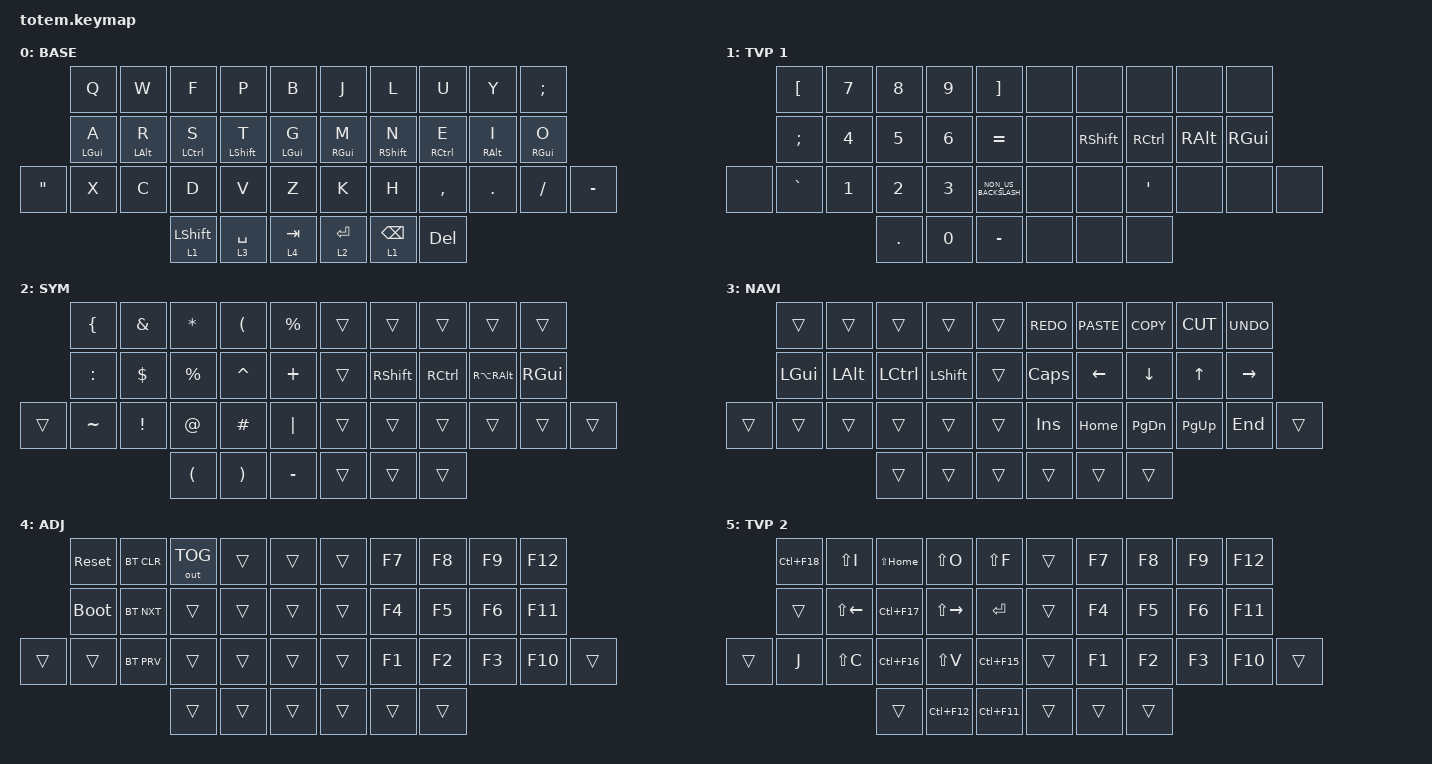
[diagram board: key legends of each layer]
//
//                                                        ▀▀▀▀▀     ▀▀▀▀▀          ▀▀█▀▀
//                                                        ▄▀▀▀▄  ▄  ▄▀▀▀▄  ▄  ▄▀▀▀▄  █  ▄▀▀▀▄
//                                                        █   █  █  █   █  █  █   █  █  █   █
//                                                         ▀▀▀   █   ▀▀▀   █   ▀▀▀   ▀   ▀▀▀
//                                                               █      ▄▄▄█▄▄▄    █   █  
//                                                               ▀      █  █  █     █▄█
//                                                             ▀▀▀▀▀    █  █  █      ▀
//                                                                      ▀  ▀  ▀
//
// ▄▄▄▄▄▄▄▄▄▄▄▄▄▄▄▄▄▄▄▄▄▄▄▄▄▄▄▄▄▄▄▄▄▄▄▄▄▄▄▄▄▄▄▄▄▄▄▄▄▄▄▄▄▄▄▄▄▄▄▄▄▄▄▄▄▄▄▄▄▄▄▄▄▄▄▄▄▄▄▄▄▄▄▄▄▄▄▄▄▄▄▄▄▄▄▄▄▄▄▄▄▄▄▄▄▄▄▄▄▄▄▄▄▄▄▄▄▄▄▄▄▄▄▄▄▄▄▄▄▄▄▄▄▄▄▄▄▄▄▄▄▄▄▄▄▄▄▄▄

#include <behaviors.dtsi>
#include <dt-bindings/zmk/bt.h>
#include <dt-bindings/zmk/keys.h>
#include <dt-bindings/zmk/outputs.h>

#define BASE 0
#define NAV  1
#define SYM  2
#define ADJ  3
#define TVP1 4
#define TVP2 5

&mt {
    quick-tap-ms = <100>;
    global-quick-tap;
    flavor = "tap-preferred";
    tapping-term-ms = <170>;
};

/ {
    combos {
        compatible = "zmk,combos";

        lt {
            bindings = <&kp LESS_THAN>;
            key-positions = <27 28>;
        };

        gt {
            bindings = <&kp GREATER_THAN>;
            key-positions = <30 29>;
        };

        double-quote {
            bindings = <&kp DOUBLE_QUOTES>;
            key-positions = <28 29>;
        };

        BT0 {
            bindings = <&bt BT_SEL 0>;
            key-positions = <0 1>;
        };

        BT1 {
            bindings = <&bt BT_SEL 1>;
            key-positions = <0 2>;
        };

        BT2 {
            bindings = <&bt BT_SEL 2>;
            key-positions = <0 3>;
        };

        capslock {
            bindings = <&kp CAPSLOCK>;
            key-positions = <13 16>;
        };

        minus {
            bindings = <&kp MINUS>;
            key-positions = <7 8>;
        };

        BT3 {
            bindings = <&bt BT_SEL 3>;
            key-positions = <0 4>;
        };
    };

    macros {
        gif: gif {
            label = "giphy";
            compatible = "zmk,behavior-macro";
            #binding-cells = <0>;
            bindings =
                <&macro_press>,
                <&kp LSHFT>,
                <&macro_tap>,
                <&kp N2>,
                <&macro_release>,
                <&kp LSHFT>,
                <&macro_tap>,
                <&kp G &kp I &kp F>;
        };
    };

    keymap {
        compatible = "zmk,keymap";

        // ▄▄▄▄▄▄▄▄▄▄▄▄▄▄▄▄▄▄▄▄▄▄▄▄▄▄▄▄▄▄▄▄▄▄▄▄▄▄▄▄▄▄▄▄▄▄▄▄▄▄▄▄▄▄▄▄▄▄▄▄▄▄▄▄▄▄▄▄▄▄▄▄▄▄▄▄▄▄▄▄▄▄▄▄▄▄▄▄▄▄▄▄▄▄▄▄▄▄▄▄▄▄▄▄▄▄▄▄▄▄▄▄▄▄▄▄▄▄▄▄▄▄▄▄▄▄▄▄▄▄▄▄▄▄▄▄▄▄▄▄▄▄▄▄▄▄▄▄▄

        base_layer {
            // ┏━━━━━━━━━━━━━━━━━━━━━━━━━━━━━━━━━━━━━━━┓

            label = "BASE";

            // ┗━━━━━━━━━━━━━━━━━━━━━━━━━━━━━━━━━━━━━━━┛
            //             ┏━━━━━━━━━━━┳━━━━━━━━━━━┳━━━━━━━━━━━┳━━━━━━━━━━━┳━━━━━━━━━━━┓   ┏━━━━━━━━━━━┳━━━━━━━━━━━┳━━━━━━━━━━━┳━━━━━━━━━━━┳━━━━━━━━━━━┓
            //             ┃     Q     ┃     W     ┃     F     ┃     P     ┃     G     ┃   ┃     J     ┃     L     ┃     U     ┃     Y     ┃     ;     ┃
            //             ┣━━━━━━━━━━━╋━━━━━━━━━━━╋━━━━━━━━━━━╋━━━━━━━━━━━╋━━━━━━━━━━━┫   ┣━━━━━━━━━━━╋━━━━━━━━━━━╋━━━━━━━━━━━╋━━━━━━━━━━━╋━━━━━━━━━━━┫
            //             ┃     A     ┃     R     ┃     S     ┃     T     ┃     D     ┃   ┃     H     ┃     N     ┃     E     ┃     I     ┃     O     ┃
            // ┏━━━━━━━━━━━╋━━━━━━━━━━━╋━━━━━━━━━━━╋━━━━━━━━━━━╋━━━━━━━━━━━╋━━━━━━━━━━━┫   ┣━━━━━━━━━━━╋━━━━━━━━━━━╋━━━━━━━━━━━╋━━━━━━━━━━━╋━━━━━━━━━━━╋━━━━━━━━━━━┓
            // ┃     Q     ┃     Z     ┃     X     ┃     C     ┃     V     ┃     B     ┃   ┃     K     ┃     M     ┃     ,     ┃     .     ┃     /     ┃     \     ┃
            // ┗━━━━━━━━━━━┻━━━━━━━━━━━┻━━━━━━━━━━━╋━━━━━━━━━━━╋━━━━━━━━━━━╋━━━━━━━━━━━┫   ┣━━━━━━━━━━━╋━━━━━━━━━━━╋━━━━━━━━━━━╋━━━━━━━━━━━┻━━━━━━━━━━━┻━━━━━━━━━━━┛
            //                                     ┃    DEL    ┃    TAB    ┃    SPC    ┃   ┃   ENTER   ┃           ┃   BSPC    ┃
            //                                     ┗━━━━━━━━━━━┻━━━━━━━━━━━┻━━━━━━━━━━━┛   ┗━━━━━━━━━━━┻━━━━━━━━━━━┻━━━━━━━━━━━┛

            bindings = <
                   &kp Q       &kp W       &kp F             &kp P        &kp B         &kp J       &kp L            &kp U        &kp Y       &kp SEMI
                   &mt LGUI A  &mt LALT R  &mt LCTRL S       &mt LSHFT T  &mt LGUI G    &mt RGUI M  &mt RSHFT N      &mt RCTRL E  &mt RALT I  &mt RGUI O
&kp DOUBLE_QUOTES  &kp X       &kp C       &kp D             &kp V        &kp Z         &kp K       &kp H            &kp COMMA    &kp DOT     &kp FSLH    &kp MINUS
                                           &lt 1 LEFT_SHIFT  &lt 3 SPACE  &lt 4 TAB     &lt 2 RET   &lt 1 BACKSPACE  &kp DELETE
            >;
        };

        num_layer {
            // ┏━━━━━━━━━━━━━━━━━━━━━━━━━━━━━━━━━━━━━━━┓

            label = "TVP 1";

            // ┗━━━━━━━━━━━━━━━━━━━━━━━━━━━━━━━━━━━━━━━┛
            //             ┏━━━━━━━━━━━┳━━━━━━━━━━━┳━━━━━━━━━━━┳━━━━━━━━━━━┳━━━━━━━━━━━┓   ┏━━━━━━━━━━━┳━━━━━━━━━━━┳━━━━━━━━━━━┳━━━━━━━━━━━┳━━━━━━━━━━━┓
            //             ┃ NEXT FILE ┃ MARK IN   ┃ ROTATE    ┃ MARK OUT  ┃ SHOW SNAP ┃   ┃           ┃           ┃           ┃           ┃           ┃
            //             ┣━━━━━━━━━━━╋━━━━━━━━━━━╋━━━━━━━━━━━╋━━━━━━━━━━━╋━━━━━━━━━━━┫   ┣━━━━━━━━━━━╋━━━━━━━━━━━╋━━━━━━━━━━━╋━━━━━━━━━━━╋━━━━━━━━━━━┫
            //             ┃ TVP II    ┃ LEFT      ┃ PAN       ┃ RIGHT     ┃ PLAY/FLIP ┃   ┃           ┃           ┃           ┃           ┃           ┃
            // ┏━━━━━━━━━━━╋━━━━━━━━━━━╋━━━━━━━━━━━╋━━━━━━━━━━━╋━━━━━━━━━━━╋━━━━━━━━━━━┫   ┣━━━━━━━━━━━╋━━━━━━━━━━━╋━━━━━━━━━━━╋━━━━━━━━━━━╋━━━━━━━━━━━╋━━━━━━━━━━━┓
            // ┃ FULLSCR   ┃ SHIFT     ┃ COPY      ┃ DELETE    ┃ PASTE     ┃ IMG MARK  ┃   ┃           ┃           ┃           ┃           ┃           ┃           ┃
            // ┗━━━━━━━━━━━┻━━━━━━━━━━━┻━━━━━━━━━━━╋━━━━━━━━━━━╋━━━━━━━━━━━╋━━━━━━━━━━━┫   ┣━━━━━━━━━━━╋━━━━━━━━━━━╋━━━━━━━━━━━╋━━━━━━━━━━━┻━━━━━━━━━━━┻━━━━━━━━━━━┛
            //                                     ┃           ┃ UNDO/SAVE ┃  SEL/MOV  ┃   ┃           ┃           ┃           ┃
            //                                     ┗━━━━━━━━━━━┻━━━━━━━━━━━┻━━━━━━━━━━━┛   ┗━━━━━━━━━━━┻━━━━━━━━━━━┻━━━━━━━━━━━┛

            bindings = <
       &kp LEFT_BRACKET  &kp N7        &kp N8        &kp NUMBER_9  &kp RIGHT_BRACKET       &none  &none            &none              &none          &none
       &kp SEMICOLON     &kp NUMBER_4  &kp N5        &kp NUMBER_6  &kp EQUAL               &none  &kp RIGHT_SHIFT  &kp RIGHT_CONTROL  &kp RIGHT_ALT  &kp RIGHT_GUI
&none  &kp GRAVE         &kp NUMBER_1  &kp NUMBER_2  &kp NUMBER_3  &kp NON_US_BACKSLASH    &none  &none            &kp SQT            &none          &none          &none
                                       &kp PERIOD    &kp NUMBER_0  &kp MINUS               &none  &none            &none
            >;
        };

        sim_layer {
            // ┏━━━━━━━━━━━━━━━━━━━━━━━━━━━━━━━━━━━━━━━┓

            label = "SYM";

            // ┗━━━━━━━━━━━━━━━━━━━━━━━━━━━━━━━━━━━━━━━┛
            //             ┏━━━━━━━━━━━┳━━━━━━━━━━━┳━━━━━━━━━━━┳━━━━━━━━━━━┳━━━━━━━━━━━┓   ┏━━━━━━━━━━━┳━━━━━━━━━━━┳━━━━━━━━━━━┳━━━━━━━━━━━┳━━━━━━━━━━━┓
            //             ┃     !     ┃     @     ┃     #     ┃     $     ┃     %     ┃   ┃     ˆ     ┃     &     ┃     Ü     ┃     '     ┃     "     ┃
            //             ┣━━━━━━━━━━━╋━━━━━━━━━━━╋━━━━━━━━━━━╋━━━━━━━━━━━╋━━━━━━━━━━━┫   ┣━━━━━━━━━━━╋━━━━━━━━━━━╋━━━━━━━━━━━╋━━━━━━━━━━━╋━━━━━━━━━━━┫
            //             ┃     Ä     ┃           ┃    SZ     ┃           ┃           ┃   ┃   MUTE    ┃   YEN     ┃   EURO    ┃  POUND    ┃     Ö     ┃
            // ┏━━━━━━━━━━━╋━━━━━━━━━━━╋━━━━━━━━━━━╋━━━━━━━━━━━╋━━━━━━━━━━━╋━━━━━━━━━━━┫   ┣━━━━━━━━━━━╋━━━━━━━━━━━╋━━━━━━━━━━━╋━━━━━━━━━━━╋━━━━━━━━━━━╋━━━━━━━━━━━┓
            // ┃           ┃  EMAIL1   ┃  EMAIL2   ┃           ┃           ┃           ┃   ┃   VOL-    ┃   VOL+    ┃   LAST    ┃   NEXT    ┃     \     ┃           ┃
            // ┗━━━━━━━━━━━┻━━━━━━━━━━━┻━━━━━━━━━━━╋━━━━━━━━━━━╋━━━━━━━━━━━╋━━━━━━━━━━━┫   ┣━━━━━━━━━━━╋━━━━━━━━━━━╋━━━━━━━━━━━╋━━━━━━━━━━━┻━━━━━━━━━━━┻━━━━━━━━━━━┛
            //                                     ┃           ┃    GIF    ┃    ADJ    ┃   ┃           ┃           ┃           ┃
            //                                     ┗━━━━━━━━━━━┻━━━━━━━━━━━┻━━━━━━━━━━━┛   ┗━━━━━━━━━━━┻━━━━━━━━━━━┻━━━━━━━━━━━┛

            bindings = <
        &kp LEFT_BRACE  &kp AMPERSAND    &kp ASTRK             &kp LEFT_PARENTHESIS   &kp PRCNT    &trans  &trans           &trans             &trans             &trans
        &kp COLON       &kp DOLLAR       &kp PERCENT           &kp CARET              &kp PLUS     &trans  &kp RIGHT_SHIFT  &kp RIGHT_CONTROL  &kp RA(RIGHT_ALT)  &kp RIGHT_GUI
&trans  &kp TILDE       &kp EXCLAMATION  &kp AT_SIGN           &kp HASH               &kp PIPE     &trans  &trans           &trans             &trans             &trans         &trans
                                         &kp LEFT_PARENTHESIS  &kp RIGHT_PARENTHESIS  &kp MINUS    &trans  &trans           &trans
            >;
        };

        nav_layer {
            // ┏━━━━━━━━━━━━━━━━━━━━━━━━━━━━━━━━━━━━━━━┓

            label = "NAVI";

            // ┗━━━━━━━━━━━━━━━━━━━━━━━━━━━━━━━━━━━━━━━┛
            //             ┏━━━━━━━━━━━┳━━━━━━━━━━━┳━━━━━━━━━━━┳━━━━━━━━━━━┳━━━━━━━━━━━┓   ┏━━━━━━━━━━━┳━━━━━━━━━━━┳━━━━━━━━━━━┳━━━━━━━━━━━┳━━━━━━━━━━━┓
            //             ┃           ┃           ┃     UP    ┃           ┃     {     ┃   ┃     }     ┃     7     ┃     8     ┃     9     ┃     +     ┃
            //             ┣━━━━━━━━━━━╋━━━━━━━━━━━╋━━━━━━━━━━━╋━━━━━━━━━━━╋━━━━━━━━━━━┫   ┣━━━━━━━━━━━╋━━━━━━━━━━━╋━━━━━━━━━━━╋━━━━━━━━━━━╋━━━━━━━━━━━┫
            //             ┃   SHIFT   ┃   LEFT    ┃    DOWN   ┃   RIGHT   ┃     [     ┃   ┃     ]     ┃     4     ┃     5     ┃     6     ┃     -     ┃
            // ┏━━━━━━━━━━━╋━━━━━━━━━━━╋━━━━━━━━━━━╋━━━━━━━━━━━╋━━━━━━━━━━━╋━━━━━━━━━━━┫   ┣━━━━━━━━━━━╋━━━━━━━━━━━╋━━━━━━━━━━━╋━━━━━━━━━━━╋━━━━━━━━━━━╋━━━━━━━━━━━┓
            // ┃           ┃           ┃   P UP    ┃  C LOCK   ┃  P DOWN   ┃     (     ┃   ┃     )     ┃     1     ┃     2     ┃     3     ┃     *     ┃           ┃
            // ┗━━━━━━━━━━━┻━━━━━━━━━━━┻━━━━━━━━━━━╋━━━━━━━━━━━╋━━━━━━━━━━━╋━━━━━━━━━━━┫   ┣━━━━━━━━━━━╋━━━━━━━━━━━╋━━━━━━━━━━━╋━━━━━━━━━━━┻━━━━━━━━━━━┻━━━━━━━━━━━┛
            //                                     ┃           ┃    TAB    ┃    SPC    ┃   ┃    DEL    ┃     0     ┃           ┃
            //                                     ┗━━━━━━━━━━━┻━━━━━━━━━━━┻━━━━━━━━━━━┛   ┗━━━━━━━━━━━┻━━━━━━━━━━━┻━━━━━━━━━━━┛

            bindings = <
        &trans        &trans        &trans            &trans          &trans    &kp K_REDO    &kp K_PASTE  &kp K_COPY     &kp K_CUT     &kp K_UNDO
        &kp LEFT_GUI  &kp LEFT_ALT  &kp LEFT_CONTROL  &kp LEFT_SHIFT  &trans    &kp CAPSLOCK  &kp LEFT     &kp DOWN       &kp UP_ARROW  &kp RIGHT
&trans  &trans        &trans        &trans            &trans          &trans    &kp INSERT    &kp HOME     &kp PAGE_DOWN  &kp PAGE_UP   &kp END     &trans
                                    &trans            &trans          &trans    &trans        &trans       &trans
            >;
        };

        adjust_layer {
            // ┏━━━━━━━━━━━━━━━━━━━━━━━━━━━━━━━━━━━━━━━┓

            label = "ADJ";

            // ┗━━━━━━━━━━━━━━━━━━━━━━━━━━━━━━━━━━━━━━━┛
            //             ┏━━━━━━━━━━━┳━━━━━━━━━━━┳━━━━━━━━━━━┳━━━━━━━━━━━┳━━━━━━━━━━━┓   ┏━━━━━━━━━━━┳━━━━━━━━━━━┳━━━━━━━━━━━┳━━━━━━━━━━━┳━━━━━━━━━━━┓
            //             ┃   RESET   ┃ BT CLEAR  ┃  OUT TOG  ┃           ┃           ┃   ┃           ┃    F7     ┃    F8     ┃    F9     ┃    F12    ┃
            //             ┣━━━━━━━━━━━╋━━━━━━━━━━━╋━━━━━━━━━━━╋━━━━━━━━━━━╋━━━━━━━━━━━┫   ┣━━━━━━━━━━━╋━━━━━━━━━━━╋━━━━━━━━━━━╋━━━━━━━━━━━╋━━━━━━━━━━━┫
            //             ┃ BOOTLOAD  ┃ BT NEXT   ┃           ┃           ┃           ┃   ┃           ┃    F4     ┃    F5     ┃    F6     ┃    F11    ┃
            // ┏━━━━━━━━━━━╋━━━━━━━━━━━╋━━━━━━━━━━━╋━━━━━━━━━━━╋━━━━━━━━━━━╋━━━━━━━━━━━┫   ┣━━━━━━━━━━━╋━━━━━━━━━━━╋━━━━━━━━━━━╋━━━━━━━━━━━╋━━━━━━━━━━━╋━━━━━━━━━━━┓
            // ┃           ┃           ┃ BT PREV   ┃           ┃           ┃           ┃   ┃           ┃    F1     ┃    F2     ┃    F3     ┃    F10    ┃           ┃
            // ┗━━━━━━━━━━━┻━━━━━━━━━━━┻━━━━━━━━━━━╋━━━━━━━━━━━╋━━━━━━━━━━━╋━━━━━━━━━━━┫   ┣━━━━━━━━━━━╋━━━━━━━━━━━╋━━━━━━━━━━━╋━━━━━━━━━━━┻━━━━━━━━━━━┻━━━━━━━━━━━┛
            //                                     ┃           ┃           ┃           ┃   ┃           ┃           ┃           ┃
            //                                     ┗━━━━━━━━━━━┻━━━━━━━━━━━┻━━━━━━━━━━━┛   ┗━━━━━━━━━━━┻━━━━━━━━━━━┻━━━━━━━━━━━┛

            bindings = <
        &sys_reset   &bt BT_CLR  &out OUT_TOG  &trans  &trans    &trans  &kp F7  &kp F8  &kp F9  &kp F12
        &bootloader  &bt BT_NXT  &trans        &trans  &trans    &trans  &kp F4  &kp F5  &kp F6  &kp F11
&trans  &trans       &bt BT_PRV  &trans        &trans  &trans    &trans  &kp F1  &kp F2  &kp F3  &kp F10  &trans
                                 &trans        &trans  &trans    &trans  &trans  &trans
            >;
        };

        tvp2_layer {
            // ┏━━━━━━━━━━━━━━━━━━━━━━━━━━━━━━━━━━━━━━━┓

            label = "TVP 2";

            // ┗━━━━━━━━━━━━━━━━━━━━━━━━━━━━━━━━━━━━━━━┛
            //             ┏━━━━━━━━━━━┳━━━━━━━━━━━┳━━━━━━━━━━━┳━━━━━━━━━━━┳━━━━━━━━━━━┓   ┏━━━━━━━━━━━┳━━━━━━━━━━━┳━━━━━━━━━━━┳━━━━━━━━━━━┳━━━━━━━━━━━┓
            //             ┃ SOLO      ┃ TOGGLE IN ┃ RESET ROT ┃ TOGGLE OUT┃ TAKE SNAP ┃   ┃           ┃           ┃           ┃           ┃           ┃
            //             ┣━━━━━━━━━━━╋━━━━━━━━━━━╋━━━━━━━━━━━╋━━━━━━━━━━━╋━━━━━━━━━━━┫   ┣━━━━━━━━━━━╋━━━━━━━━━━━╋━━━━━━━━━━━╋━━━━━━━━━━━╋━━━━━━━━━━━┫
            //             ┃ ---       ┃ LAST KEY  ┃ NEW KEY   ┃ NEXT KEY  ┃ ENTER     ┃   ┃           ┃           ┃           ┃           ┃           ┃
            // ┏━━━━━━━━━━━╋━━━━━━━━━━━╋━━━━━━━━━━━╋━━━━━━━━━━━╋━━━━━━━━━━━╋━━━━━━━━━━━┫   ┣━━━━━━━━━━━╋━━━━━━━━━━━╋━━━━━━━━━━━╋━━━━━━━━━━━╋━━━━━━━━━━━╋━━━━━━━━━━━┓
            // ┃           ┃ FULLSCR   ┃ CPY2BRUSH ┃ DEL HEAD  ┃ PSTinPLACE┃ BOOK MARK ┃   ┃           ┃           ┃           ┃           ┃           ┃           ┃
            // ┗━━━━━━━━━━━┻━━━━━━━━━━━┻━━━━━━━━━━━╋━━━━━━━━━━━╋━━━━━━━━━━━╋━━━━━━━━━━━┫   ┣━━━━━━━━━━━╋━━━━━━━━━━━╋━━━━━━━━━━━╋━━━━━━━━━━━┻━━━━━━━━━━━┻━━━━━━━━━━━┛
            //                                     ┃           ┃ REDO/SAV1 ┃TRANS/WARP ┃   ┃           ┃           ┃           ┃
            //                                     ┗━━━━━━━━━━━┻━━━━━━━━━━━┻━━━━━━━━━━━┛   ┗━━━━━━━━━━━┻━━━━━━━━━━━┻━━━━━━━━━━━┛

            bindings = <
        &kp LC(F18)  &kp LS(I)     &kp LS(HOME)  &kp LS(O)      &kp LS(F)      &trans  &kp F7  &kp F8  &kp F9  &kp F12
        &trans       &kp LS(LEFT)  &kp LC(F17)   &kp LS(RIGHT)  &kp RET        &trans  &kp F4  &kp F5  &kp F6  &kp F11
&trans  &kp J        &kp LS(C)     &kp LC(F16)   &kp LS(V)      &kp LC(F15)    &trans  &kp F1  &kp F2  &kp F3  &kp F10  &trans
                                   &trans        &kp LC(F12)    &kp LC(F11)    &trans  &trans  &trans
            >;
        };
    };
};
